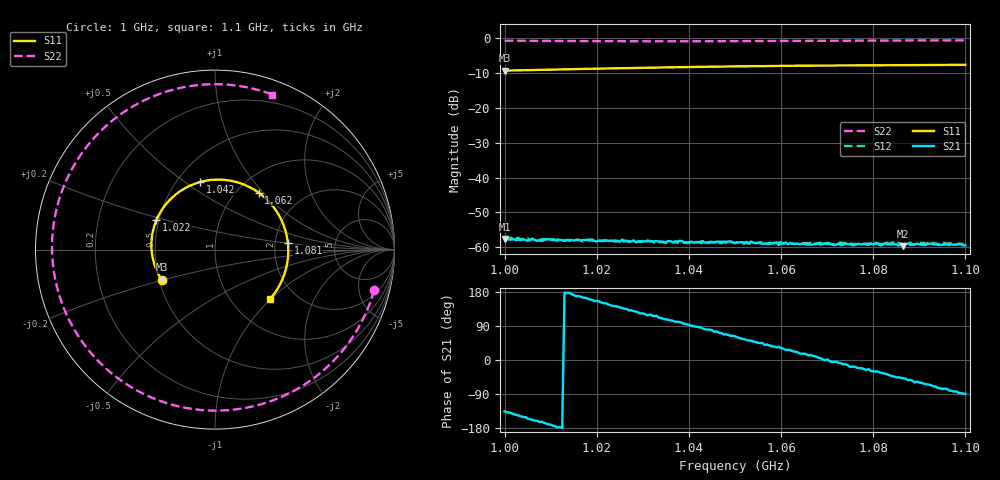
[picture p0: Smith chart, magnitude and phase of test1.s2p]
!Keysight Technologies N9923A: A.08.15
!Date: Wednesday, 14 February 2024 17:40:59
!Timezone: (GMT-05:00) Eastern Time (US & Canada)
!Model: N9923A
!Serial: MY52412730
!GPS Latitude:
!GPS Longitude:
!GPS TimeStamp: 0001-01-01 00:00:00Z
!GPS Seconds Since Last Read: 0
!CHECKSUM:1905855332
!Correction: S11(ON Q)S21(ON Q)S12(ON Q)S22(ON Q)
!S2P File: Measurements:S11,S21,S12,S22:
# Hz S DB R 50
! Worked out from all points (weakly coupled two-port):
!   201 points, 1 GHz to 1.1 GHz, reference 50 ohm
!   highest |S21| = -57.56 dB at 1 GHz (marker M1); lowest = -59.7 dB at 1.087 GHz (marker M2)
!   lowest |S11| = -9.4 dB at 1 GHz (marker M3), VSWR 2.03, Z = 25.8 - j9.75 ohm
!   |S11| at or under -10 dB: nowhere
!   |S22| runs from -0.9 to -0.7 dB; largest |S21 - S12| = 0.00013
!   S11 on the Smith chart (normalised r, x): 1 GHz: 0.52, -0.20; 1.022 GHz: 0.49, +0.18; 1.042 GHz: 0.65, +0.57; 1.062 GHz: 1.25, +0.94; 1.081 GHz: 2.35, +0.21; 1.1 GHz: 1.49, -0.99
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1e9  -9.35 -150.7  -57.56 -135.4  -57.25 -134.8  -0.77 -14.3
1.008e9  -9.12 -171.1  -58.16 -162.6  -57.66 -162.9  -0.84 -36.2
1.016e9  -8.90 168.5  -57.93 168.7  -57.75 169.2  -0.90 -58.1
1.017e9  -8.88 165.9  -57.90 164.7  -58.37 166.8  -0.90 -60.8
1.019e9  -8.82 160.8  -58.07 158.7  -57.73 159.6  -0.91 -66.3
1.022e9  -8.74 153.2  -57.94 150.0  -58.14 149.2  -0.93 -74.5
1.028e9  -8.59 138.0  -57.98 129.0  -58.29 129.0  -0.94 -91.1
1.0285e9  -8.58 136.7  -58.57 127.8  -58.42 129.4  -0.94 -92.4
1.0335e9  -8.46 124.1  -58.30 111.4  -58.59 111.5  -0.95 -106.2
1.042e9  -8.28 102.6  -58.56 86.9  -58.42 84.2  -0.93 -129.7
1.05e9  -8.13 82.5  -58.71 62.5  -58.84 59.7  -0.90 -151.9
1.0535e9  -8.08 73.8  -58.31 50.7  -58.84 49.4  -0.88 -161.6
1.056e9  -8.04 67.5  -59.03 44.3  -58.63 40.6  -0.86 -168.5
1.062e9  -7.96 52.5  -58.75 25.8  -58.89 22.2  -0.83 174.8
1.067e9  -7.91 40.1  -59.11 10.4  -58.68 9.3  -0.80 161.0
1.0735e9  -7.85 23.9  -59.21 -11.7  -58.89 -10.8  -0.76 142.9
1.081e9  -7.79 5.2  -58.98 -30.3  -58.86 -34.1  -0.73 122.1
1.0835e9  -7.78 -1.0  -59.10 -40.0  -59.05 -39.0  -0.72 115.2
1.0865e9  -7.76 -8.4  -59.65 -48.0  -59.19 -49.2  -0.71 106.9
1.0875e9  -7.76 -10.9  -58.89 -53.0  -58.97 -50.6  -0.71 104.2
1.093e9  -7.73 -24.5  -59.12 -68.9  -58.75 -67.9  -0.71 89.0
1.1e9  -7.71 -41.9  -59.42 -89.2  -58.98 -87.9  -0.72 69.8
